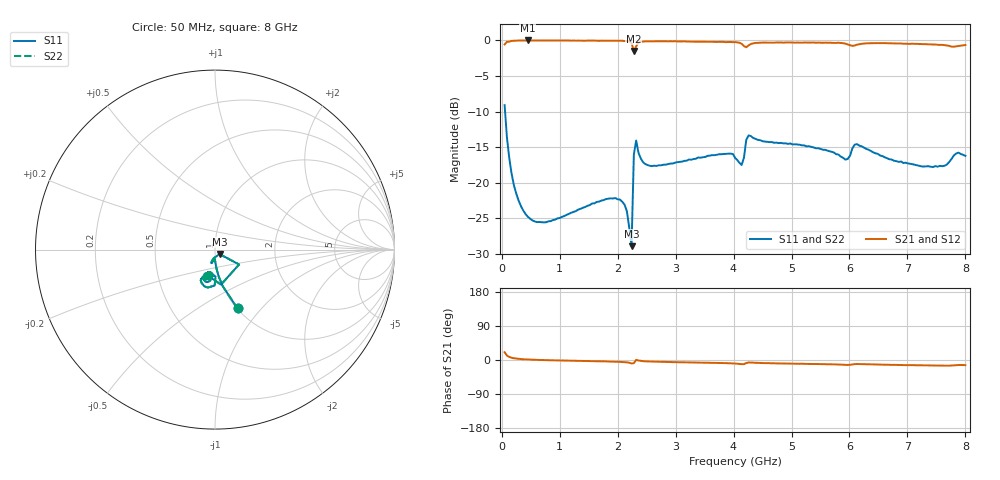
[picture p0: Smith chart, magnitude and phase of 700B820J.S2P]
!  American Technical Ceramics  Date:  3/13/98
!  One Norden Lane
!  Huntington Station,  NY.  11746-2102
!  Tel:  (516) 547-5700  Fax:  (516) 547-5748
!  Part Number  700B820J
!  Description: Porcelain, High Q, Low ESR
!  Application: Bypass, Coupling, Timing, Feedback
!  Tuning, Impedance Match, Blocking
# GHZ S DB R 50
! Freq  |S11|  S11 Ph  |S21|  S21 Ph  |S12|  S12 Ph  |S22|  S22 Ph
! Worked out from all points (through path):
!   201 points, 50 MHz to 8 GHz, reference 50 ohm
!   highest |S21| = -0.01 dB at 450 MHz (marker M1); lowest = -1.5 dB at 2.28 GHz (marker M2)
!   group delay of S21, straight-line fit = 6.07 ps
!   lowest |S11| = -28.9 dB at 2.24 GHz (marker M3), VSWR 1.07, Z = 52.6 - j2.64 ohm
!   |S11| at or under -10 dB: 58.04 MHz to end of sweep
!   |S22| runs from -28.9 to -9.1 dB; largest |S21 - S12| = 0
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0.05  -9.09 -69.1  -0.57 20.6  -0.57 20.6  -9.09 -69.1
0.13  -16.50 -82.3  -0.18 8.1  -0.18 8.1  -16.50 -82.3
0.21  -20.32 -86.1  -0.05 4.6  -0.05 4.6  -20.32 -86.1
0.45  -24.76 -90.5  -0.01 1.4  -0.01 1.4  -24.76 -90.5
0.77  -25.53 -94.6  -0.02 -0.5  -0.02 -0.5  -25.53 -94.6
1.4  -23.51 -100.5  -0.04 -2.5  -0.04 -2.5  -23.51 -100.5
2.04  -22.36 -105.8  -0.06 -4.9  -0.06 -4.9  -22.36 -105.8
2.16  -24.01 -104.6  -0.10 -6.2  -0.10 -6.2  -24.01 -104.6
2.24  -28.90 -44.3  -0.36 -9.2  -0.36 -9.2  -28.90 -44.3
2.28  -16.04 -31.7  -1.50 -8.3  -1.50 -8.3  -16.04 -31.7
2.32  -14.07 -80.2  -0.82 0.4  -0.82 0.4  -14.07 -80.2
2.44  -17.12 -102.6  -0.16 -3.1  -0.16 -3.1  -17.12 -102.6
2.71  -17.54 -106.8  -0.13 -5.0  -0.13 -5.0  -17.54 -106.8
4.03  -16.54 -111.9  -0.24 -9.4  -0.24 -9.4  -16.54 -111.9
4.14  -17.50 -100.6  -0.48 -10.9  -0.48 -10.9  -17.50 -100.6
4.26  -13.34 -100.8  -0.70 -6.6  -0.70 -6.6  -13.34 -100.8
5.38  -15.03 -115.1  -0.30 -10.6  -0.30 -10.6  -15.03 -115.1
5.93  -16.74 -107.5  -0.46 -12.8  -0.46 -12.8  -16.74 -107.5
6.13  -14.57 -106.0  -0.60 -10.6  -0.60 -10.6  -14.57 -106.0
6.69  -16.70 -111.5  -0.40 -12.7  -0.40 -12.7  -16.70 -111.5
7.44  -17.79 -101.8  -0.58 -14.4  -0.58 -14.4  -17.79 -101.8
8  -16.22 -107.8  -0.66 -13.6  -0.66 -13.6  -16.22 -107.8
